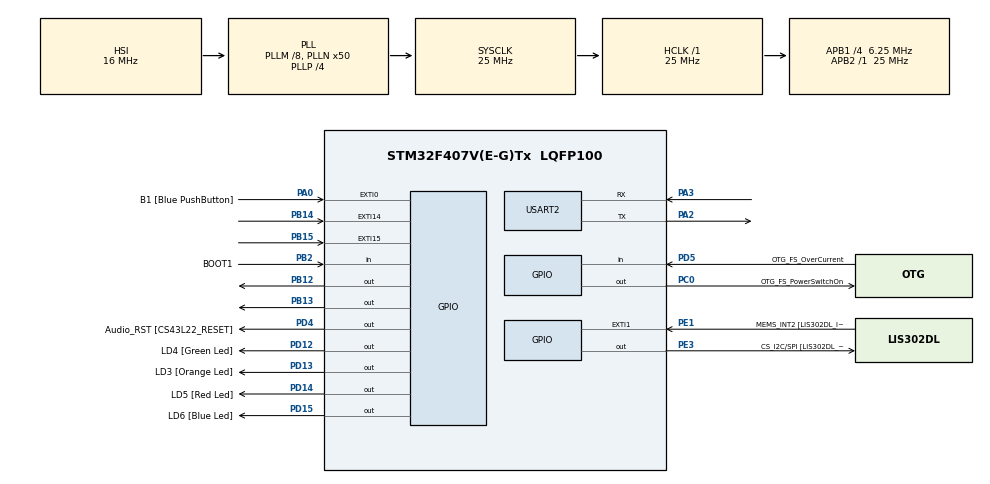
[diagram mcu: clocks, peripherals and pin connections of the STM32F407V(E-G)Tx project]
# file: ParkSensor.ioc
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Mcu.Family=STM32F4
Mcu.Name=STM32F407V(E-G)Tx
Mcu.Package=LQFP100
NVIC.EXTI15_10_IRQn=true\:0\:0\:false\:false\:true
NVIC.PriorityGroup=NVIC_PRIORITYGROUP_0
NVIC.TIM1_UP_TIM10_IRQn=true\:0\:0\:false\:false\:true
NVIC.USART2_IRQn=true\:0\:0\:false\:false\:true
PA0-WKUP.GPIO_Label=B1 [Blue PushButton]
PA0-WKUP.Signal=GPXTI0
PA10.GPIO_Label=OTG_FS_ID
PA10.GPIO_Mode=GPIO_MODE_AF_PP
PA10.GPIO_PuPd=GPIO_NOPULL
PA10.GPIO_Speed=GPIO_SPEED_FREQ_LOW
PA10.Signal=USB_OTG_FS_ID
PA11.GPIO_Label=OTG_FS_DM
PA11.GPIO_Mode=GPIO_MODE_AF_PP
PA11.GPIO_PuPd=GPIO_NOPULL
PA11.GPIO_Speed=GPIO_SPEED_FREQ_LOW
PA11.Signal=USB_OTG_FS_DM
PA12.GPIO_Label=OTG_FS_DP
PA12.GPIO_Mode=GPIO_MODE_AF_PP
PA12.GPIO_PuPd=GPIO_NOPULL
PA12.GPIO_Speed=GPIO_SPEED_FREQ_LOW
PA12.Signal=USB_OTG_FS_DP
PA13.GPIO_Label=SWDIO
PA13.Signal=SYS_JTMS-SWDIO
PA14.GPIO_Label=SWCLK
PA14.Signal=SYS_JTCK-SWCLK
PA2.Mode=Asynchronous
PA2.Signal=USART2_TX
PA3.Mode=Asynchronous
PA3.Signal=USART2_RX
PA4.GPIO_Label=I2S3_WS [CS43L22_LRCK]
PA4.GPIO_Mode=GPIO_MODE_AF_PP
PA4.GPIO_PuPd=GPIO_NOPULL
PA4.GPIO_Speed=GPIO_SPEED_FREQ_LOW
PA4.Signal=I2S3_WS
PA5.GPIO_Label=SPI1_SCK [LIS302DL_SCL/SPC]
PA5.GPIO_Mode=GPIO_MODE_AF_PP
PA5.GPIO_PuPd=GPIO_NOPULL
PA5.GPIO_Speed=GPIO_SPEED_FREQ_LOW
PA5.Signal=SPI1_SCK
PA6.GPIO_Label=SPI1_MISO [LIS302DL_SDO]
PA6.GPIO_Mode=GPIO_MODE_AF_PP
PA6.GPIO_PuPd=GPIO_NOPULL
PA6.GPIO_Speed=GPIO_SPEED_FREQ_LOW
PA6.Signal=SPI1_MISO
PA7.GPIO_Label=SPI1_MOSI [LIS302DL_SDA/SDI/SDO]
PA7.GPIO_Mode=GPIO_MODE_AF_PP
PA7.GPIO_PuPd=GPIO_NOPULL
PA7.GPIO_Speed=GPIO_SPEED_FREQ_LOW
PA7.Signal=SPI1_MOSI
PA9.GPIO_Label=VBUS_FS
PA9.GPIO_Mode=GPIO_MODE_INPUT
PA9.GPIO_PuPd=GPIO_NOPULL
PA9.Signal=USB_OTG_FS_VBUS
PB10.GPIO_Label=CLK_IN [MP45DT02_CLK]
PB10.GPIO_Mode=GPIO_MODE_AF_PP
PB10.GPIO_PuPd=GPIO_NOPULL
PB10.GPIO_Speed=GPIO_SPEED_FREQ_LOW
PB10.Signal=I2S2_CK
PB12.Signal=GPIO_Output
PB13.Signal=GPIO_Output
PB14.GPIO_ModeDefaultEXTI=GPIO_MODE_IT_RISING_FALLING
PB14.Signal=GPXTI14
PB15.GPIO_ModeDefaultEXTI=GPIO_MODE_IT_RISING_FALLING
PB15.Signal=GPXTI15
PB2.GPIO_Label=BOOT1
PB2.GPIO_Mode=GPIO_MODE_INPUT
PB2.GPIO_PuPd=GPIO_NOPULL
PB2.Signal=GPIO_Input
PB3.GPIO_Label=SWO
PB3.Signal=SYS_JTDO-SWO
PB6.GPIO_Label=Audio_SCL [CS43L22_SCL]
PB6.GPIO_Mode=GPIO_MODE_AF_OD
PB6.GPIO_PuPd=GPIO_NOPULL
PB6.GPIO_Speed=GPIO_SPEED_FREQ_LOW
PB6.Signal=I2C1_SCL
PB9.GPIO_Label=Audio_SDA [CS43L22_SDA]
PB9.GPIO_Mode=GPIO_MODE_AF_OD
PB9.GPIO_PuPd=GPIO_NOPULL
PB9.GPIO_Speed=GPIO_SPEED_FREQ_LOW
PB9.Signal=I2C1_SDA
PC0.GPIO_Label=OTG_FS_PowerSwitchOn
PC0.GPIO_PuPd=GPIO_NOPULL
PC0.GPIO_Speed=GPIO_SPEED_FREQ_LOW
PC0.PinState=GPIO_PIN_SET
PC0.Signal=GPIO_Output
PC10.GPIO_Label=I2S3_SCK [CS43L22_SCLK]
PC10.GPIO_Mode=GPIO_MODE_AF_PP
PC10.GPIO_PuPd=GPIO_NOPULL
PC10.GPIO_Speed=GPIO_SPEED_FREQ_LOW
PC10.Signal=I2S3_CK
PC12.GPIO_Label=I2S3_SD [CS43L22_SDIN]
PC12.GPIO_Mode=GPIO_MODE_AF_PP
PC12.GPIO_PuPd=GPIO_NOPULL
PC12.GPIO_Speed=GPIO_SPEED_FREQ_LOW
PC12.Signal=I2S3_SD
PC14-OSC32_IN.GPIO_Label=PC14-OSC32_IN
PC14-OSC32_IN.Signal=RCC_OSC32_IN
PC15-OSC32_OUT.GPIO_Label=PC15-OSC32_OUT
PC15-OSC32_OUT.Signal=RCC_OSC32_OUT
PC3.GPIO_Label=PDM_OUT [MP45DT02_DOUT]
PC3.GPIO_Mode=GPIO_MODE_AF_PP
PC3.GPIO_PuPd=GPIO_NOPULL
PC3.GPIO_Speed=GPIO_SPEED_FREQ_LOW
PC3.Signal=I2S2_SD
PC7.GPIO_Label=I2S3_MCK [CS43L22_MCLK]
PC7.GPIO_Mode=GPIO_MODE_AF_PP
PC7.GPIO_PuPd=GPIO_NOPULL
PC7.GPIO_Speed=GPIO_SPEED_FREQ_LOW
PC7.Signal=I2S3_MCK
PD12.GPIO_Label=LD4 [Green Led]
PD12.GPIO_PuPd=GPIO_NOPULL
PD12.GPIO_Speed=GPIO_SPEED_FREQ_LOW
PD12.Signal=GPIO_Output
PD13.GPIO_Label=LD3 [Orange Led]
PD13.GPIO_PuPd=GPIO_NOPULL
PD13.GPIO_Speed=GPIO_SPEED_FREQ_LOW
PD13.Signal=GPIO_Output
PD14.GPIO_Label=LD5 [Red Led]
PD14.GPIO_PuPd=GPIO_NOPULL
PD14.GPIO_Speed=GPIO_SPEED_FREQ_LOW
PD14.Signal=GPIO_Output
PD15.GPIO_Label=LD6 [Blue Led]
PD15.GPIO_PuPd=GPIO_NOPULL
PD15.GPIO_Speed=GPIO_SPEED_FREQ_LOW
PD15.Signal=GPIO_Output
PD4.GPIO_Label=Audio_RST [CS43L22_RESET]
PD4.GPIO_PuPd=GPIO_NOPULL
PD4.GPIO_Speed=GPIO_SPEED_FREQ_LOW
PD4.Signal=GPIO_Output
PD5.GPIO_Label=OTG_FS_OverCurrent
PD5.GPIO_Mode=GPIO_MODE_INPUT
PD5.GPIO_PuPd=GPIO_NOPULL
PD5.Signal=GPIO_Input
PE1.GPIO_Label=MEMS_INT2 [LIS302DL_INT2]
PE1.GPIO_ModeDefaultEXTI=GPIO_MODE_EVT_RISING
PE1.GPIO_PuPd=GPIO_NOPULL
PE1.Signal=GPXTI1
PE3.GPIO_Label=CS_I2C/SPI [LIS302DL_CS_I2C/SPI]
PE3.GPIO_PuPd=GPIO_NOPULL
PE3.GPIO_Speed=GPIO_SPEED_FREQ_LOW
PE3.Signal=GPIO_Output
PH0-OSC_IN.GPIO_Label=PH0-OSC_IN
PH0-OSC_IN.Signal=RCC_OSC_IN
PH1-OSC_OUT.GPIO_Label=PH1-OSC_OUT
PH1-OSC_OUT.Signal=RCC_OSC_OUT
ProjectManager.HeapSize=0x200
ProjectManager.StackSize=0x400
ProjectManager.TargetToolchain=SW4STM32
RCC.48MHZClocksFreq_Value=14285714.285714285
RCC.AHBFreq_Value=25000000
RCC.APB1CLKDivider=RCC_HCLK_DIV4
RCC.APB1Freq_Value=6250000
RCC.APB1TimFreq_Value=12500000
RCC.APB2Freq_Value=25000000
RCC.APB2TimFreq_Value=25000000
RCC.CortexFreq_Value=25000000
RCC.HCLKFreq_Value=25000000
RCC.HSE_VALUE=8000000
RCC.HSI_VALUE=16000000
RCC.LSE_VALUE=32768
RCC.PLLM=8
RCC.PLLN=50
RCC.PLLP=RCC_PLLP_DIV4
RCC.PLLQ=7
RCC.SYSCLKFreq_VALUE=25000000
RCC.SYSCLKSource=RCC_SYSCLKSOURCE_PLLCLK
RCC.VCOOutputFreq_Value=100000000
TIM10.Period=260
USART2.VirtualMode=VM_ASYNC
VP_TIM10_VS_ClockSourceINT.Mode=Enable_Timer
board=STM32F4DISCOVERY

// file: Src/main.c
/**
  ******************************************************************************
  * File Name          : main.c
  * Description        : Main program body
  ******************************************************************************
  ** This notice applies to any and all portions of this file
  * that are not between comment pairs USER CODE BEGIN and
  * USER CODE END. Other portions of this file, whether
  * inserted by the user or by software development tools
  * are owned by their respective copyright owners.
  *
  * COPYRIGHT(c) 2017 STMicroelectronics
  *
  * Redistribution and use in source and binary forms, with or without modification,
  * are permitted provided that the following conditions are met:
  *   1. Redistributions of source code must retain the above copyright notice,
  *      this list of conditions and the following disclaimer.
  *   2. Redistributions in binary form must reproduce the above copyright notice,
  *      this list of conditions and the following disclaimer in the documentation
  *      and/or other materials provided with the distribution.
  *   3. Neither the name of STMicroelectronics nor the names of its contributors
  *      may be used to endorse or promote products derived from this software
  *      without specific prior written permission.
  *
  * THIS SOFTWARE IS PROVIDED BY THE COPYRIGHT HOLDERS AND CONTRIBUTORS "AS IS"
  * AND ANY EXPRESS OR IMPLIED WARRANTIES, INCLUDING, BUT NOT LIMITED TO, THE
  * IMPLIED WARRANTIES OF MERCHANTABILITY AND FITNESS FOR A PARTICULAR PURPOSE ARE
  * DISCLAIMED. IN NO EVENT SHALL THE COPYRIGHT HOLDER OR CONTRIBUTORS BE LIABLE
  * FOR ANY DIRECT, INDIRECT, INCIDENTAL, SPECIAL, EXEMPLARY, OR CONSEQUENTIAL
  * DAMAGES (INCLUDING, BUT NOT LIMITED TO, PROCUREMENT OF SUBSTITUTE GOODS OR
  * SERVICES; LOSS OF USE, DATA, OR PROFITS; OR BUSINESS INTERRUPTION) HOWEVER
  * CAUSED AND ON ANY THEORY OF LIABILITY, WHETHER IN CONTRACT, STRICT LIABILITY,
  * OR TORT (INCLUDING NEGLIGENCE OR OTHERWISE) ARISING IN ANY WAY OUT OF THE USE
  * OF THIS SOFTWARE, EVEN IF ADVISED OF THE POSSIBILITY OF SUCH DAMAGE.
  *
  ******************************************************************************
  */
#include "main.h"
#include "stm32f4xx_hal.h"

TIM_HandleTypeDef htim10;

UART_HandleTypeDef huart2;

/* USER CODE BEGIN PV */
/* Private variables ---------------------------------------------------------*/

/* USER CODE END PV */

void SystemClock_Config(void);
static void MX_GPIO_Init(void);
static void MX_TIM10_Init(void);
static void MX_USART2_UART_Init(void);

/* USER CODE BEGIN PFP */
/* Private function prototypes -----------------------------------------------*/

/* USER CODE END PFP */

/* USER CODE BEGIN 0 */
uint8_t tick=0;
int distanceL=-1;
double startTimeL = 0;
int lastStateL = 0;
int distanceR=-1;
double startTimeR = 0;
int lastStateR = 0;

void timTick(){
	if(tick==1){
		tick=0;
		HAL_GPIO_WritePin(GPIOB,GPIO_PIN_13,GPIO_PIN_SET);
		HAL_GPIO_WritePin(GPIOB,GPIO_PIN_12,GPIO_PIN_SET);
	}
	else{
		HAL_GPIO_WritePin(GPIOB,GPIO_PIN_13,GPIO_PIN_RESET);
		HAL_GPIO_WritePin(GPIOB,GPIO_PIN_12,GPIO_PIN_RESET);
	}
}

double getTime(){
	return ((double)DWT->CYCCNT) / SystemCoreClock *1000000;
}

void edgeDetected(){
	// LEFT
	int nowStateL = HAL_GPIO_ReadPin(GPIOB,GPIO_PIN_15);
	if(nowStateL != lastStateL){
		if(nowStateL == GPIO_PIN_SET){
			startTimeL = getTime();
		}
		else{
			distanceL = getTime()-startTimeL;
		}
	}
	lastStateL = nowStateL;

	//RIGHT
	int nowStateR = HAL_GPIO_ReadPin(GPIOB,GPIO_PIN_14);
	if(nowStateR != lastStateR){
		if(nowStateR == GPIO_PIN_SET){
			startTimeR = getTime();
		}
		else{
			distanceR = getTime()-startTimeR;
		}
	}
	lastStateR = nowStateR;
}

/* USER CODE END 0 */

int main(void)
{

  /* MCU Configuration----------------------------------------------------------*/

  /* Reset of all peripherals, Initializes the Flash interface and the Systick. */
  HAL_Init();

  /* Configure the system clock */
  SystemClock_Config();

  /* Initialize all configured peripherals */
  MX_GPIO_Init();
  MX_TIM10_Init();
  MX_USART2_UART_Init();

  /* USER CODE BEGIN 2 */
  HAL_TIM_Base_Start_IT(&htim10);
  /* USER CODE END 2 */

  /* Infinite loop */
  while (1)
  {

  /* USER CODE BEGIN 3 */
	  tick=1;
	  HAL_Delay(25);
	  char c;
	  if(HAL_UART_Receive(&huart2,&c,1,50) == HAL_OK){
		  char buff[100];
		  sprintf(buff,"%d %d\r\n",distanceL,distanceR);
		  HAL_UART_Transmit(&huart2,buff,strlen(buff),100);
	  }
	  if(distanceL <= 500) {
		  HAL_GPIO_WritePin(GPIOD,GPIO_PIN_14,GPIO_PIN_SET);
	  }else{
		  HAL_GPIO_WritePin(GPIOD,GPIO_PIN_14,GPIO_PIN_RESET);
	  }
	  if(distanceR <= 500) {
	  	  HAL_GPIO_WritePin(GPIOD,GPIO_PIN_15,GPIO_PIN_SET);
	  }else{
	  	  HAL_GPIO_WritePin(GPIOD,GPIO_PIN_15,GPIO_PIN_RESET);
	  }
//	  HAL_UART_Transmit(&huart2,"OK?",3,100);

  }
  /* USER CODE END 3 */

}

/** System Clock Configuration
*/
void SystemClock_Config(void)
{

  RCC_OscInitTypeDef RCC_OscInitStruct;
  RCC_ClkInitTypeDef RCC_ClkInitStruct;

    /**Configure the main internal regulator output voltage
    */
  __HAL_RCC_PWR_CLK_ENABLE();

  __HAL_PWR_VOLTAGESCALING_CONFIG(PWR_REGULATOR_VOLTAGE_SCALE1);

    /**Initializes the CPU, AHB and APB busses clocks
    */
  RCC_OscInitStruct.OscillatorType = RCC_OSCILLATORTYPE_HSI;
  RCC_OscInitStruct.HSIState = RCC_HSI_ON;
  RCC_OscInitStruct.HSICalibrationValue = 16;
  RCC_OscInitStruct.PLL.PLLState = RCC_PLL_ON;
  RCC_OscInitStruct.PLL.PLLSource = RCC_PLLSOURCE_HSI;
  RCC_OscInitStruct.PLL.PLLM = 8;
  RCC_OscInitStruct.PLL.PLLN = 50;
  RCC_OscInitStruct.PLL.PLLP = RCC_PLLP_DIV4;
  RCC_OscInitStruct.PLL.PLLQ = 7;
  if (HAL_RCC_OscConfig(&RCC_OscInitStruct) != HAL_OK)
  {
    _Error_Handler(__FILE__, __LINE__);
  }

    /**Initializes the CPU, AHB and APB busses clocks
    */
  RCC_ClkInitStruct.ClockType = RCC_CLOCKTYPE_HCLK|RCC_CLOCKTYPE_SYSCLK
                              |RCC_CLOCKTYPE_PCLK1|RCC_CLOCKTYPE_PCLK2;
  RCC_ClkInitStruct.SYSCLKSource = RCC_SYSCLKSOURCE_PLLCLK;
  RCC_ClkInitStruct.AHBCLKDivider = RCC_SYSCLK_DIV1;
  RCC_ClkInitStruct.APB1CLKDivider = RCC_HCLK_DIV4;
  RCC_ClkInitStruct.APB2CLKDivider = RCC_HCLK_DIV1;

  if (HAL_RCC_ClockConfig(&RCC_ClkInitStruct, FLASH_LATENCY_0) != HAL_OK)
  {
    _Error_Handler(__FILE__, __LINE__);
  }

    /**Configure the Systick interrupt time
    */
  HAL_SYSTICK_Config(HAL_RCC_GetHCLKFreq()/1000);

    /**Configure the Systick
    */
  HAL_SYSTICK_CLKSourceConfig(SYSTICK_CLKSOURCE_HCLK);

  /* SysTick_IRQn interrupt configuration */
  HAL_NVIC_SetPriority(SysTick_IRQn, 0, 0);
}

/* TIM10 init function */
static void MX_TIM10_Init(void)
{

  htim10.Instance = TIM10;
  htim10.Init.Prescaler = 0;
  htim10.Init.CounterMode = TIM_COUNTERMODE_UP;
  htim10.Init.Period = 260;
  htim10.Init.ClockDivision = TIM_CLOCKDIVISION_DIV1;
  if (HAL_TIM_Base_Init(&htim10) != HAL_OK)
  {
    _Error_Handler(__FILE__, __LINE__);
  }

}

/* USART2 init function */
static void MX_USART2_UART_Init(void)
{

  huart2.Instance = USART2;
  huart2.Init.BaudRate = 115200;
  huart2.Init.WordLength = UART_WORDLENGTH_8B;
  huart2.Init.StopBits = UART_STOPBITS_1;
  huart2.Init.Parity = UART_PARITY_NONE;
  huart2.Init.Mode = UART_MODE_TX_RX;
  huart2.Init.HwFlowCtl = UART_HWCONTROL_NONE;
  huart2.Init.OverSampling = UART_OVERSAMPLING_16;
  if (HAL_UART_Init(&huart2) != HAL_OK)
  {
    _Error_Handler(__FILE__, __LINE__);
  }

}

/** Configure pins as
        * Analog
        * Input
        * Output
        * EVENT_OUT
        * EXTI
     PC3   ------> I2S2_SD
     PA4   ------> I2S3_WS
     PA5   ------> SPI1_SCK
     PA6   ------> SPI1_MISO
     PA7   ------> SPI1_MOSI
     PB10   ------> I2S2_CK
     PC7   ------> I2S3_MCK
     PA9   ------> USB_OTG_FS_VBUS
     PA10   ------> USB_OTG_FS_ID
     PA11   ------> USB_OTG_FS_DM
     PA12   ------> USB_OTG_FS_DP
     PC10   ------> I2S3_CK
     PC12   ------> I2S3_SD
     PB6   ------> I2C1_SCL
     PB9   ------> I2C1_SDA
*/
static void MX_GPIO_Init(void)
{

  GPIO_InitTypeDef GPIO_InitStruct;

  /* GPIO Ports Clock Enable */
  __HAL_RCC_GPIOE_CLK_ENABLE();
  __HAL_RCC_GPIOC_CLK_ENABLE();
  __HAL_RCC_GPIOH_CLK_ENABLE();
  __HAL_RCC_GPIOA_CLK_ENABLE();
  __HAL_RCC_GPIOB_CLK_ENABLE();
  __HAL_RCC_GPIOD_CLK_ENABLE();

  /*Configure GPIO pin Output Level */
  HAL_GPIO_WritePin(CS_I2C_SPI_GPIO_Port, CS_I2C_SPI_Pin, GPIO_PIN_RESET);

  /*Configure GPIO pin Output Level */
  HAL_GPIO_WritePin(OTG_FS_PowerSwitchOn_GPIO_Port, OTG_FS_PowerSwitchOn_Pin, GPIO_PIN_SET);

  /*Configure GPIO pin Output Level */
  HAL_GPIO_WritePin(GPIOB, GPIO_PIN_12|GPIO_PIN_13, GPIO_PIN_RESET);

  /*Configure GPIO pin Output Level */
  HAL_GPIO_WritePin(GPIOD, LD4_Pin|LD3_Pin|LD5_Pin|LD6_Pin
                          |Audio_RST_Pin, GPIO_PIN_RESET);

  /*Configure GPIO pin : CS_I2C_SPI_Pin */
  GPIO_InitStruct.Pin = CS_I2C_SPI_Pin;
  GPIO_InitStruct.Mode = GPIO_MODE_OUTPUT_PP;
  GPIO_InitStruct.Pull = GPIO_NOPULL;
  GPIO_InitStruct.Speed = GPIO_SPEED_FREQ_LOW;
  HAL_GPIO_Init(CS_I2C_SPI_GPIO_Port, &GPIO_InitStruct);

  /*Configure GPIO pin : OTG_FS_PowerSwitchOn_Pin */
  GPIO_InitStruct.Pin = OTG_FS_PowerSwitchOn_Pin;
  GPIO_InitStruct.Mode = GPIO_MODE_OUTPUT_PP;
  GPIO_InitStruct.Pull = GPIO_NOPULL;
  GPIO_InitStruct.Speed = GPIO_SPEED_FREQ_LOW;
  HAL_GPIO_Init(OTG_FS_PowerSwitchOn_GPIO_Port, &GPIO_InitStruct);

  /*Configure GPIO pin : PDM_OUT_Pin */
  GPIO_InitStruct.Pin = PDM_OUT_Pin;
  GPIO_InitStruct.Mode = GPIO_MODE_AF_PP;
  GPIO_InitStruct.Pull = GPIO_NOPULL;
  GPIO_InitStruct.Speed = GPIO_SPEED_FREQ_LOW;
  GPIO_InitStruct.Alternate = GPIO_AF5_SPI2;
  HAL_GPIO_Init(PDM_OUT_GPIO_Port, &GPIO_InitStruct);

  /*Configure GPIO pin : B1_Pin */
  GPIO_InitStruct.Pin = B1_Pin;
  GPIO_InitStruct.Mode = GPIO_MODE_IT_RISING;
  GPIO_InitStruct.Pull = GPIO_NOPULL;
  HAL_GPIO_Init(B1_GPIO_Port, &GPIO_InitStruct);

  /*Configure GPIO pin : I2S3_WS_Pin */
  GPIO_InitStruct.Pin = I2S3_WS_Pin;
  GPIO_InitStruct.Mode = GPIO_MODE_AF_PP;
  GPIO_InitStruct.Pull = GPIO_NOPULL;
  GPIO_InitStruct.Speed = GPIO_SPEED_FREQ_LOW;
  GPIO_InitStruct.Alternate = GPIO_AF6_SPI3;
  HAL_GPIO_Init(I2S3_WS_GPIO_Port, &GPIO_InitStruct);

  /*Configure GPIO pins : SPI1_SCK_Pin SPI1_MISO_Pin SPI1_MOSI_Pin */
  GPIO_InitStruct.Pin = SPI1_SCK_Pin|SPI1_MISO_Pin|SPI1_MOSI_Pin;
  GPIO_InitStruct.Mode = GPIO_MODE_AF_PP;
  GPIO_InitStruct.Pull = GPIO_NOPULL;
  GPIO_InitStruct.Speed = GPIO_SPEED_FREQ_LOW;
  GPIO_InitStruct.Alternate = GPIO_AF5_SPI1;
  HAL_GPIO_Init(GPIOA, &GPIO_InitStruct);

  /*Configure GPIO pin : BOOT1_Pin */
  GPIO_InitStruct.Pin = BOOT1_Pin;
  GPIO_InitStruct.Mode = GPIO_MODE_INPUT;
  GPIO_InitStruct.Pull = GPIO_NOPULL;
  HAL_GPIO_Init(BOOT1_GPIO_Port, &GPIO_InitStruct);

  /*Configure GPIO pin : CLK_IN_Pin */
  GPIO_InitStruct.Pin = CLK_IN_Pin;
  GPIO_InitStruct.Mode = GPIO_MODE_AF_PP;
  GPIO_InitStruct.Pull = GPIO_NOPULL;
  GPIO_InitStruct.Speed = GPIO_SPEED_FREQ_LOW;
  GPIO_InitStruct.Alternate = GPIO_AF5_SPI2;
  HAL_GPIO_Init(CLK_IN_GPIO_Port, &GPIO_InitStruct);

  /*Configure GPIO pins : PB12 PB13 */
  GPIO_InitStruct.Pin = GPIO_PIN_12|GPIO_PIN_13;
  GPIO_InitStruct.Mode = GPIO_MODE_OUTPUT_PP;
  GPIO_InitStruct.Pull = GPIO_NOPULL;
  GPIO_InitStruct.Speed = GPIO_SPEED_FREQ_LOW;
  HAL_GPIO_Init(GPIOB, &GPIO_InitStruct);

  /*Configure GPIO pins : PB14 PB15 */
  GPIO_InitStruct.Pin = GPIO_PIN_14|GPIO_PIN_15;
  GPIO_InitStruct.Mode = GPIO_MODE_IT_RISING_FALLING;
  GPIO_InitStruct.Pull = GPIO_NOPULL;
  HAL_GPIO_Init(GPIOB, &GPIO_InitStruct);

  /*Configure GPIO pins : LD4_Pin LD3_Pin LD5_Pin LD6_Pin
                           Audio_RST_Pin */
  GPIO_InitStruct.Pin = LD4_Pin|LD3_Pin|LD5_Pin|LD6_Pin
                          |Audio_RST_Pin;
  GPIO_InitStruct.Mode = GPIO_MODE_OUTPUT_PP;
  GPIO_InitStruct.Pull = GPIO_NOPULL;
  GPIO_InitStruct.Speed = GPIO_SPEED_FREQ_LOW;
  HAL_GPIO_Init(GPIOD, &GPIO_InitStruct);

  /*Configure GPIO pins : I2S3_MCK_Pin I2S3_SCK_Pin I2S3_SD_Pin */
  GPIO_InitStruct.Pin = I2S3_MCK_Pin|I2S3_SCK_Pin|I2S3_SD_Pin;
  GPIO_InitStruct.Mode = GPIO_MODE_AF_PP;
  GPIO_InitStruct.Pull = GPIO_NOPULL;
  GPIO_InitStruct.Speed = GPIO_SPEED_FREQ_LOW;
  GPIO_InitStruct.Alternate = GPIO_AF6_SPI3;
  HAL_GPIO_Init(GPIOC, &GPIO_InitStruct);

  /*Configure GPIO pin : VBUS_FS_Pin */
  GPIO_InitStruct.Pin = VBUS_FS_Pin;
  GPIO_InitStruct.Mode = GPIO_MODE_INPUT;
  GPIO_InitStruct.Pull = GPIO_NOPULL;
  HAL_GPIO_Init(VBUS_FS_GPIO_Port, &GPIO_InitStruct);

  /*Configure GPIO pins : OTG_FS_ID_Pin OTG_FS_DM_Pin OTG_FS_DP_Pin */
  GPIO_InitStruct.Pin = OTG_FS_ID_Pin|OTG_FS_DM_Pin|OTG_FS_DP_Pin;
  GPIO_InitStruct.Mode = GPIO_MODE_AF_PP;
  GPIO_InitStruct.Pull = GPIO_NOPULL;
  GPIO_InitStruct.Speed = GPIO_SPEED_FREQ_LOW;
  GPIO_InitStruct.Alternate = GPIO_AF10_OTG_FS;
  HAL_GPIO_Init(GPIOA, &GPIO_InitStruct);

  /*Configure GPIO pin : OTG_FS_OverCurrent_Pin */
  GPIO_InitStruct.Pin = OTG_FS_OverCurrent_Pin;
  GPIO_InitStruct.Mode = GPIO_MODE_INPUT;
  GPIO_InitStruct.Pull = GPIO_NOPULL;
  HAL_GPIO_Init(OTG_FS_OverCurrent_GPIO_Port, &GPIO_InitStruct);

  /*Configure GPIO pins : Audio_SCL_Pin Audio_SDA_Pin */
  GPIO_InitStruct.Pin = Audio_SCL_Pin|Audio_SDA_Pin;
  GPIO_InitStruct.Mode = GPIO_MODE_AF_OD;
  GPIO_InitStruct.Pull = GPIO_PULLUP;
  GPIO_InitStruct.Speed = GPIO_SPEED_FREQ_LOW;
  GPIO_InitStruct.Alternate = GPIO_AF4_I2C1;
  HAL_GPIO_Init(GPIOB, &GPIO_InitStruct);

  /*Configure GPIO pin : MEMS_INT2_Pin */
  GPIO_InitStruct.Pin = MEMS_INT2_Pin;
  GPIO_InitStruct.Mode = GPIO_MODE_EVT_RISING;
  GPIO_InitStruct.Pull = GPIO_NOPULL;
  HAL_GPIO_Init(MEMS_INT2_GPIO_Port, &GPIO_InitStruct);

  /* EXTI interrupt init*/
  HAL_NVIC_SetPriority(EXTI15_10_IRQn, 0, 0);
  HAL_NVIC_EnableIRQ(EXTI15_10_IRQn);

}

void _Error_Handler(char * file, int line)
{
  while(1)
  {
  }
}

/************************ (C) COPYRIGHT STMicroelectronics *****END OF FILE****/
